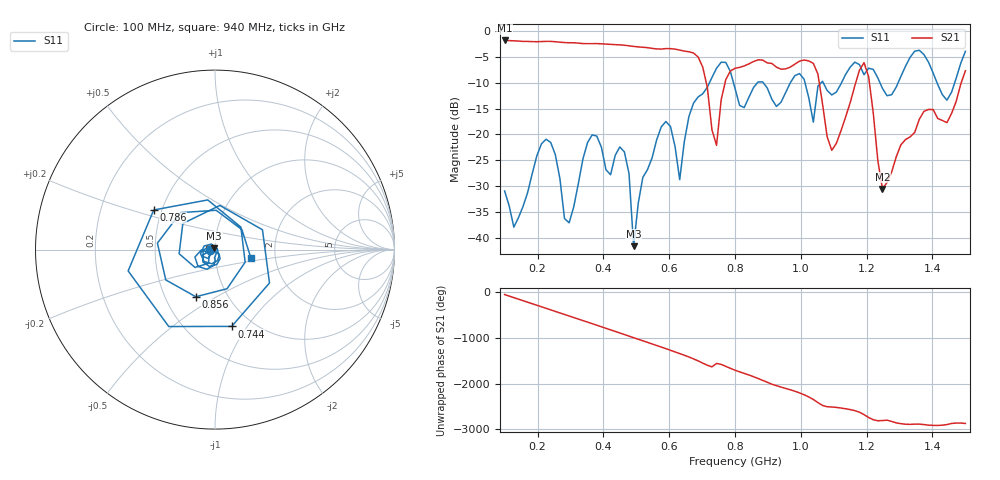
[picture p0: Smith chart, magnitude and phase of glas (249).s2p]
! NanoVNA-App
! Date: 2025-09-25 15:57:24
! Start: 100MHz Stop: 1,5GHz Points: 101
! S-Parameter data: F S11 S21 S12 S22
# Hz S RI R 50
!  Frequency  S11_Real  S11_Imag  S21_Real  S21_Imag  S12_Real  S12_Imag  S22_Real  S22_Imag
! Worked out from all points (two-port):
!   101 points, 100 MHz to 1.5 GHz, reference 50 ohm
!   highest |S21| = -1.80 dB at 100 MHz (marker M1); lowest = -30.5 dB at 1.248 GHz (marker M2)
!   |S21| within 3 dB of the highest: start of sweep to 684.3 MHz
!   lowest |S11| = -41.6 dB at 492 MHz (marker M3), VSWR 1.02, Z = 49.5 + j0.645 ohm
!   |S11| at or under -10 dB: start of sweep to 722.3 MHz; 795.4 MHz to 868 MHz (72.57 MHz wide, 8.73 % of centre); 886.1 MHz to 968 MHz (81.86 MHz wide, 8.83 % of centre) (the widest 3 of 7)
!   S12 and S22 are empty: the file has one direction only
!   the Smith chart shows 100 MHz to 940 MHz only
!   S11 on the Smith chart (normalised r, x): 100 MHz: 0.95, -0.01; 744 MHz: 0.80, -0.85; 786 MHz: 0.45, +0.24; 856 MHz: 0.71, -0.41; 940 MHz: 1.49, -0.14
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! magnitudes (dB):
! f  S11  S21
! 100 MHz  -30.9  -1.8
! 128 MHz  -38.0  -1.9
! 226 MHz  -20.9  -2.0
! 296 MHz  -37.1  -2.2
! 338 MHz  -24.7  -2.4
! 464 MHz  -23.4  -2.7
! 492 MHz  -41.6  -3.0
! 576 MHz  -18.5  -3.5
! 632 MHz  -28.8  -3.7
! 702 MHz  -12.1  -7.0
! 744 MHz  -7.2  -22.1
! 786 MHz  -7.8  -7.7
! 800 MHz  -11.1  -7.2
! 856 MHz  -10.9  -5.9
! 940 MHz  -13.7  -7.4
! 996 MHz  -8.2  -5.8
! 1.038 GHz  -17.6  -6.2
! 1.094 GHz  -12.4  -23.1
! 1.192 GHz  -8.4  -6.1
! 1.248 GHz  -11.1  -30.5
! 1.276 GHz  -12.3  -27.3
! 1.5 GHz  -3.9  -7.7
